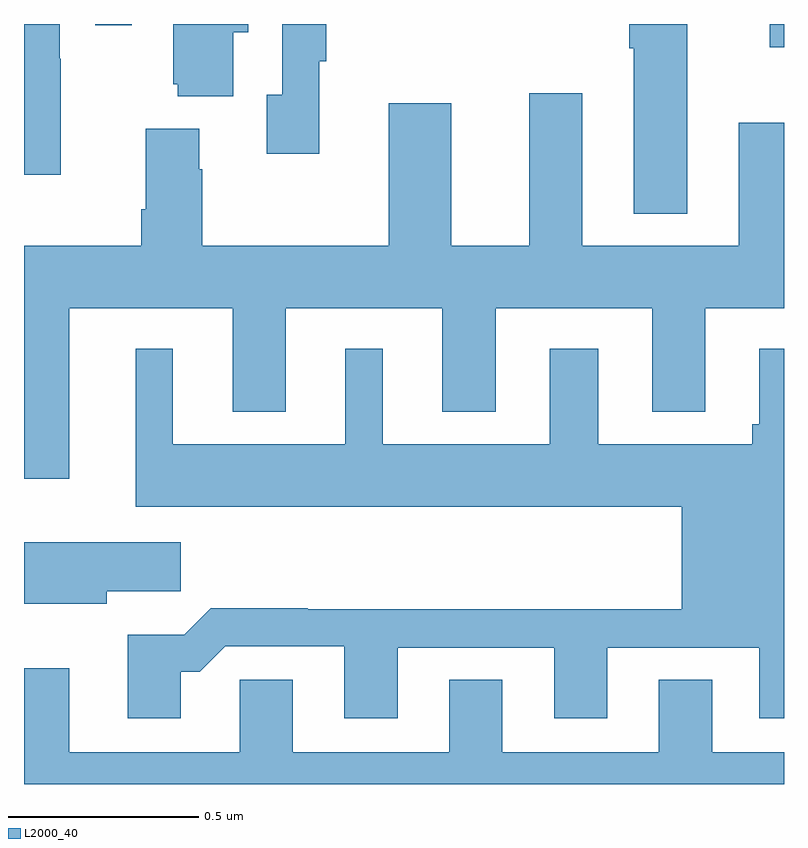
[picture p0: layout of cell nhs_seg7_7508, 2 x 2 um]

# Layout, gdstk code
import gdstk
lib = gdstk.Library(unit=1e-6, precision=1e-09)
def R(c, l, rs):  # rectangles x0, y0, x1, y1
    for r in rs: c.add(gdstk.rectangle(r[:2], r[2:], *l))
def P(c, l, *ps):  # polygons
    for p in ps: c.add(gdstk.Polygon(p, *l))
L2000_40 = (2000, 40)

nhs_seg7_7508 = lib.new_cell('nhs_seg7_7508')
R(nhs_seg7_7508, L2000_40, [(213.962,1031.939,214,1032), (212.187,1031.997,212.283,1032)])
P(nhs_seg7_7508, L2000_40, [(213.745,1032),(213.593,1032),(213.593,1031.936),(213.605,1031.936),(213.605,1031.501),(213.745,1031.501)],
  [(212.097,1031.909),(212.094,1031.909),(212.094,1032),(212,1032),(212,1031.603),(212.097,1031.603)],
  [(212.777,1031.902),(212.795,1031.902),(212.795,1032),(212.679,1032),(212.679,1031.814),(212.639,1031.814),(212.639,1031.658),(212.777,1031.658)],
  [(212.551,1031.978),(212.59,1031.978),(212.59,1032),(212.393,1032),(212.393,1031.841),(212.405,1031.841),(212.405,1031.81),(212.551,1031.81)],
  [(212.119,1031.252),(212.549,1031.252),(212.549,1030.979),(212.689,1030.979),(212.689,1031.252),(213.101,1031.252),(213.101,1030.979),(213.241,1030.979),(213.241,1031.252),(213.653,1031.252),(213.653,1030.979),(213.793,1030.979),(213.793,1031.252),(214,1031.252),(214,1031.74),(213.881,1031.74),(213.881,1031.416),(213.469,1031.416),(213.469,1031.818),(213.329,1031.818),(213.329,1031.416),(213.124,1031.416),(213.124,1031.791),(212.96,1031.791),(212.96,1031.416),(212.469,1031.416),(212.469,1031.618),(212.461,1031.618),(212.461,1031.725),(212.321,1031.725),(212.321,1031.512),(212.309,1031.512),(212.309,1031.416),(212,1031.416),(212,1030.803),(212.119,1030.803)],
  [(212.413,1030.295),(212.462,1030.295),(212.529,1030.362),(212.843,1030.362),(212.843,1030.173),(212.983,1030.173),(212.983,1030.359),(213.395,1030.359),(213.395,1030.173),(213.535,1030.173),(213.535,1030.359),(213.935,1030.359),(213.935,1030.173),(214,1030.173),(214,1031.146),(213.935,1031.146),(213.935,1030.947),(213.916,1030.947),(213.916,1030.894),(213.511,1030.894),(213.511,1031.146),(213.383,1031.146),(213.383,1030.894),(212.944,1030.894),(212.944,1031.146),(212.846,1031.146),(212.846,1030.894),(212.392,1030.894),(212.392,1031.146),(212.294,1031.146),(212.294,1030.73),(213.731,1030.73),(213.731,1030.46),(212.747,1030.46),(212.747,1030.463),(212.492,1030.463),(212.422,1030.393),(212.273,1030.393),(212.273,1030.173),(212.413,1030.173)],
  [(212.218,1030.507),(212.413,1030.507),(212.413,1030.636),(212,1030.636),(212,1030.475),(212.218,1030.475)],
  [(212.119,1030.305),(212,1030.305),(212,1030),(214,1030),(214,1030.084),(213.811,1030.084),(213.811,1030.274),(213.671,1030.274),(213.671,1030.084),(213.259,1030.084),(213.259,1030.274),(213.119,1030.274),(213.119,1030.084),(212.707,1030.084),(212.707,1030.274),(212.568,1030.274),(212.568,1030.084),(212.119,1030.084)])

lib.write_gds('nhs_seg7_7508.gds')
